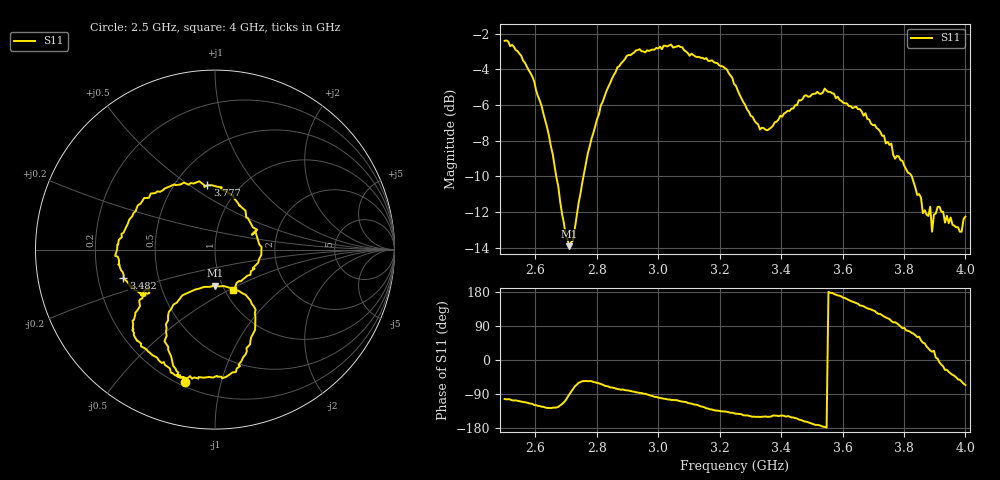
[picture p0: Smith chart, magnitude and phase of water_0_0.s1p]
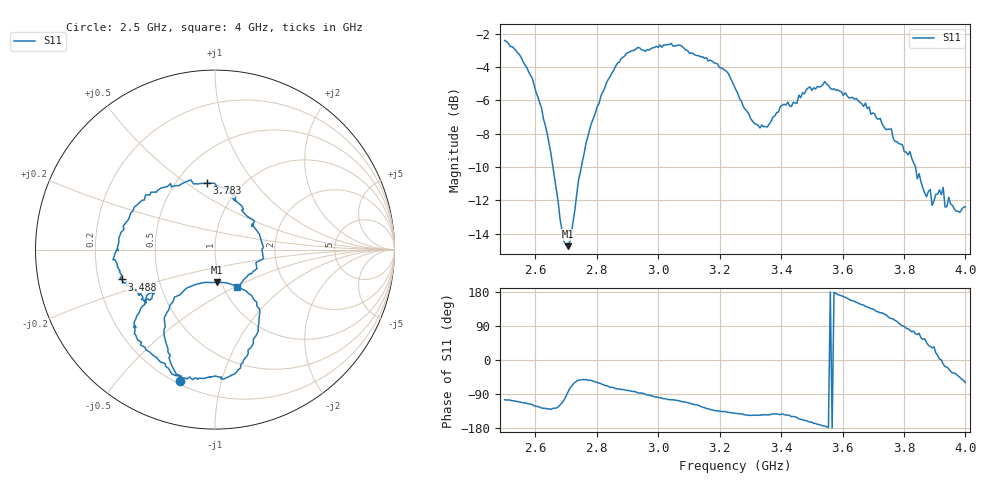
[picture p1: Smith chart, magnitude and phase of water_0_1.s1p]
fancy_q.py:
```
import nanovnacmd as nv
import lmfit as lm
import numpy as np

from NanoVNASaver.Touchstone import Options, Touchstone

water_ranges = {
    './data_water/water_0_0.s1p': (2.518072e9, 3.03012e9),
    './data_water/water_0_1.s1p': (2.524096e9, 3.03012e9),
    './data_water/water_1_0.s1p': (2.572289e9, 3.138554e9),
    './data_water/water_2_0.s1p': (2.596386e9, 3.150602e9),
    './data_water/water_2_1.s1p': (2.603225806e9, 3.158064516e9),
    './data_water/water_3_0.s1p': (2.719354839e9, 3.156627e9),
    './data_water/water_3_1.s1p': (2.609677419e9, 2.987096774e9),
    './data_water/water_4_0.s1p': (2.706451613e9, 3.156627e9),
    './data_water/water_4_1.s1p': (2.680645161e9, 3.151612903e9),
    './data_water/water_5_0.s1p': (2.761290323e9, 3.258064516e9),
    './data_water/water_5_1.s1p': (2.759036e9, 3.264516129e9),
    './data_water/water_6_0.s1p': (2.809677419e9, 3.329032258e9),
    './data_water/water_6_1.s1p': (2.835483871e9, 3.331325e9),
    './data_water/water_7_0.s1p': (2.861290323e9, 3.331325e9),
    './data_water/water_7_1.s1p': (2.883870968e9, 3.358064516e9),
}

def residual(params, x, data=None):
	"""params is the lmfit object. x is the frequency in Hz. For reference: https://lmfit.github.io/lmfit-py/fitting.html
	#based on Ray Kwok & Ji-Fuh Liang. Characterization of High-Q Resonators for Microwave-Filter Applications. IEEE Trans MTT vol.47, p111-114, 1999

	"""
	a = params['a'].value
	b = params['b'].value
	qint = params['qint'].value
	beta = params['beta'].value
	f0 = params['f0'].value
	tau = params['tau'].value
	Omega = x/f0 - f0/x
	S11 = (a + b * 1j) *  ((1-beta)+1j*qint*Omega)/((1+beta)+1j*qint*Omega) * np.exp(1j * (x - f0) * tau)
	# S21 = (a + b * 1j) * (1 - np.exp(1j * phi) * (q / qext) / (1 + 2j * q * ((x - f0) / f0))) * np.exp(1j * (x - f0) * tau)

	if data is None:
		return S11.view(np.float)
	else:
		return (S11.view(np.float)-data.view(np.float))

def ResonatorRegression(frequency=None, smith=None, electricalDelay=None):
	spectrum = smith
	x = frequency
	y = spectrum.view(np.float)
	print(y[0], y[1])

	# create a set of Parameters
	params = lm.Parameters()

	params.add('a', value=np.mean(np.real(spectrum)))
	params.add('b', value=np.mean(np.imag(spectrum)))
	params.add('qint', value=10000, min=0.1)
	#guess at the resonance frequency
	spectrumAbs = np.abs(spectrum)
	frequency_guess = x[np.argmin(spectrumAbs)]
	print("frequency_guess", frequency_guess)
	params.add('f0', value=frequency_guess)
	params.add('tau', value=0)
	params.add('beta', value=1)

	#best Minimizer class documentation i've found so far
	#https://github.com/lmfit/lmfit-py/blob/master/doc/fitting.rst#id81
	mini = lm.Minimizer(residual,params,fcn_args=(x, y))
	return mini

filenames = []

# filenames.append("./data_filings/can3_oil_aluminum_fine.s1p")
# for i in range(1, 13):
# 	filenames.append("./data_filings/can3_oil_aluminum_" + str(i) + "_fine.s1p")
for i in range(0, 8):
	for j in range(0, 2):
		if i == 1 and j == 1:
			continue
		filenames.append("./data_water/water_" + str(i) + "_"+ str(j) + ".s1p")

results = []
for filename in filenames:
	ts = Touchstone(filename)
	ts.load()

	f = np.array([d.freq for d in ts.s11data])
	s11 = np.array([d.z for d in ts.s11data])

	if filename in water_ranges:
		resonance_band_from, resonance_band_to = water_ranges[filename]
		found_from = False
		index_from = None
		index_to = None
		for i, p in enumerate(ts.s11data):
			if not found_from:
				if p.freq < resonance_band_from:
					continue
				index_from = i
				found_from = True
			else:
				if p.freq < resonance_band_to:
					continue
				index_to = i
				break
		f = f[index_from:index_to+1]
		s11 = s11[index_from:index_to+1]

	#running the code
	mini = ResonatorRegression(frequency=f, smith=s11, electricalDelay = None)
	result = mini.minimize()

	f0 = result.params['f0'].value
	a = result.params['a'].value
	b = result.params['b'].value

	qint = result.params['qint'].value
	beta = result.params['beta'].value
	q = qint/(1+beta)
	qext = 1/(1/q-1/qint)

	results.append((f0, a, b, qint, beta, q, qext))

for i, result in enumerate(results):
	print(i, result)
```
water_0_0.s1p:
# MHz S MA R 50
!  freq  S11
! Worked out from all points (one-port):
!   250 points, 2.5 GHz to 4 GHz, reference 50 ohm
!   lowest |S11| = -13.9 dB at 2.711 GHz (marker M1), VSWR 1.50, Z = 46 - j19.3 ohm
!   |S11| at or under -10 dB: 2.668 GHz to 2.757 GHz (88.8 MHz wide, 3.27 % of centre); 3.825 GHz to end of sweep
!   S11 on the Smith chart (normalised r, x): 2.5 GHz: 0.22, -0.77; 3.482 GHz: 0.31, -0.14; 3.777 GHz: 0.72, +0.59; 4 GHz: 1.09, -0.52
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2500  0.7583 -102.8
2620.482  0.4977 -123.3
2710.843  0.2013 -90.5
2813.253  0.4999 -63.5
2897.59  0.6877 -80.2
3000  0.7214 -99.3
3186.747  0.6576 -133.3
3331.325  0.4276 -150.4
3481.928  0.5336 -162.8
3500  0.5361 -167.7
3644.578  0.4956 150.2
3777.108  0.3607 96.8
3909.639  0.2593 3.4
4000  0.2436 -66.0
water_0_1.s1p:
# MHz S MA R 50
!  freq  S11
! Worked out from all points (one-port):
!   250 points, 2.5 GHz to 4 GHz, reference 50 ohm
!   lowest |S11| = -14.7 dB at 2.705 GHz (marker M1), VSWR 1.45, Z = 47.6 - j18 ohm
!   |S11| at or under -10 dB: 2.657 GHz to 2.75 GHz (92.27 MHz wide, 3.41 % of centre); 3.838 GHz to end of sweep
!   S11 on the Smith chart (normalised r, x): 2.5 GHz: 0.22, -0.75; 3.488 GHz: 0.30, -0.14; 3.783 GHz: 0.70, +0.60; 4 GHz: 1.16, -0.51
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2500  0.7586 -104.7
2620.482  0.4748 -126.6
2704.819  0.1832 -87.1
2813.253  0.516 -62.3
2897.59  0.6953 -80.2
3000  0.7229 -98.7
3186.747  0.6478 -134.0
3331.325  0.4145 -146.0
3487.952  0.5462 -162.3
3500  0.5373 -163.9
3608.434  0.5285 165.8
3783.133  0.372 97.0
3915.663  0.2703 2.4
4000  0.2404 -59.4
